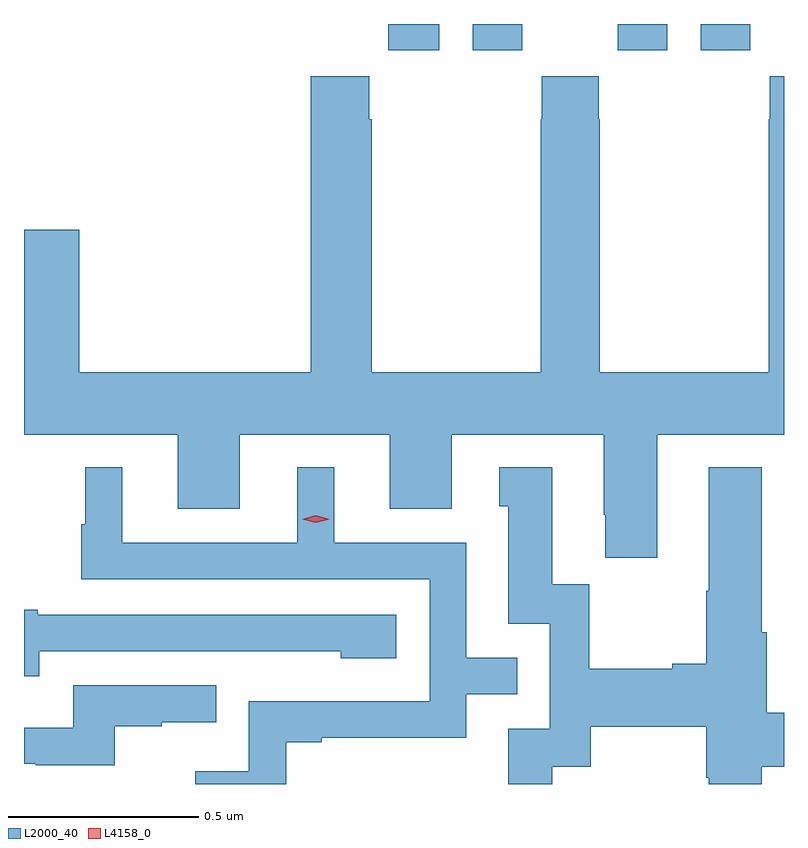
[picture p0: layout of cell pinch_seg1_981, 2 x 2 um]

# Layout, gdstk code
import gdstk
lib = gdstk.Library(unit=1e-6, precision=1e-09)
def R(c, l, rs):  # rectangles x0, y0, x1, y1
    for r in rs: c.add(gdstk.rectangle(r[:2], r[2:], *l))
def P(c, l, *ps):  # polygons
    for p in ps: c.add(gdstk.Polygon(p, *l))
L2000_40 = (2000, 40)
L4158_0 = (4158, 0)

pinch_seg1_981 = lib.new_cell('pinch_seg1_981')
R(pinch_seg1_981, L2000_40, [(165.986,552.744,166.12,552.813), (166.208,552.744,166.338,552.813), (166.59,552.744,166.72,552.813), (166.808,552.744,166.938,552.813)])
P(pinch_seg1_981, L2000_40, [(166.693,551.732),(167.027,551.732),(167.027,552.676),(166.989,552.676),(166.989,552.563),(166.987,552.563),(166.987,551.896),(166.542,551.896),(166.542,552.563),(166.539,552.563),(166.539,552.676),(166.389,552.676),(166.389,552.563),(166.387,552.563),(166.387,551.896),(165.942,551.896),(165.942,552.563),(165.935,552.563),(165.935,552.676),(165.782,552.676),(165.782,551.896),(165.172,551.896),(165.172,552.271),(165.027,552.271),(165.027,551.732),(165.431,551.732),(165.431,551.538),(165.595,551.538),(165.595,551.732),(165.989,551.732),(165.989,551.538),(166.153,551.538),(166.153,551.732),(166.553,551.732),(166.553,551.521),(166.556,551.521),(166.556,551.409),(166.693,551.409)],
  [(165.717,550.923),(165.811,550.923),(165.811,550.935),(166.191,550.935),(166.191,551.049),(166.325,551.049),(166.325,551.145),(166.191,551.145),(166.191,551.448),(165.844,551.448),(165.844,551.647),(165.746,551.647),(165.746,551.448),(165.286,551.448),(165.286,551.647),(165.188,551.647),(165.188,551.496),(165.177,551.496),(165.177,551.352),(166.095,551.352),(166.095,551.031),(165.618,551.031),(165.618,550.846),(165.477,550.846),(165.477,550.813),(165.717,550.813)],
  [(166.417,550.858),(166.519,550.858),(166.519,550.964),(166.822,550.964),(166.822,550.83),(166.829,550.83),(166.829,550.813),(166.969,550.813),(166.969,550.858),(167.027,550.858),(167.027,551),(166.982,551),(166.982,551.212),(166.969,551.212),(166.969,551.647),(166.829,551.647),(166.829,551.321),(166.822,551.321),(166.822,551.129),(166.733,551.129),(166.733,551.116),(166.515,551.116),(166.515,551.339),(166.417,551.339),(166.417,551.647),(166.277,551.647),(166.277,551.544),(166.301,551.544),(166.301,551.235),(166.41,551.235),(166.41,550.959),(166.301,550.959),(166.301,550.813),(166.417,550.813)],
  [(165.067,551.163),(165.625,551.163),(165.625,551.162),(165.861,551.162),(165.861,551.144),(166.006,551.144),(166.006,551.259),(165.063,551.259),(165.063,551.272),(165.027,551.272),(165.027,551.096),(165.067,551.096)],
  [(165.266,550.965),(165.389,550.965),(165.389,550.976),(165.533,550.976),(165.533,551.073),(165.156,551.073),(165.156,550.961),(165.027,550.961),(165.027,550.866),(165.058,550.866),(165.058,550.863),(165.266,550.863)])
P(pinch_seg1_981, L4158_0, [(165.795,551.5),(165.759,551.51),(165.759,551.51),(165.759,551.51),(165.795,551.52),(165.831,551.51),(165.831,551.51),(165.831,551.51)])

lib.write_gds('pinch_seg1_981.gds')
